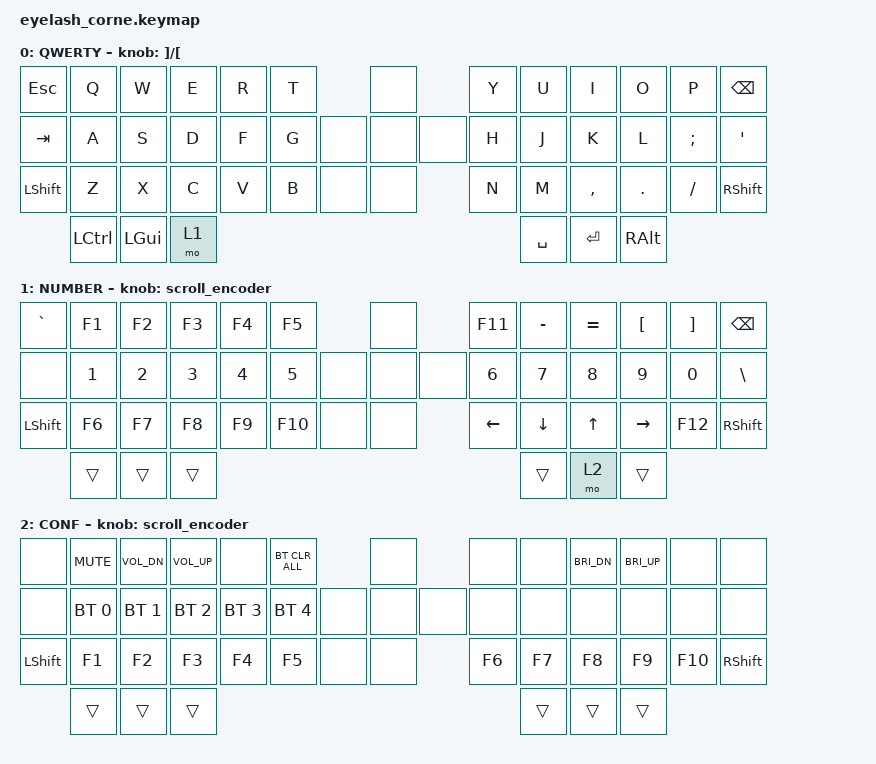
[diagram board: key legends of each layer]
#define ZMK_POINTING_DEFAULT_MOVE_VAL 1200  // 600
#define ZMK_POINTING_DEFAULT_SCRL_VAL 25   // 10

#include <input/processors.dtsi>
#include <zephyr/dt-bindings/input/input-event-codes.h>
#include <behaviors.dtsi>
#include <dt-bindings/zmk/bt.h>
#include <dt-bindings/zmk/keys.h>
#include <dt-bindings/zmk/outputs.h>
#include <dt-bindings/zmk/pointing.h>
#include <dt-bindings/zmk/rgb.h>

&mmv_input_listener { input-processors = <&zip_xy_scaler 2 1>; };

&msc_input_listener { input-processors = <&zip_scroll_scaler 2 1>; };

&msc {
    acceleration-exponent = <1>;      // 0
    time-to-max-speed-ms = <100>;       // 300
    delay-ms = <0>;                   // 0
};

&mmv {
    time-to-max-speed-ms = <500>;
    acceleration-exponent = <1>;
    trigger-period-ms = <16>;
};

&soft_off { hold-time-ms = <2000>; };

/ {
    behaviors {
        td0: td0 {
            compatible = "zmk,behavior-tap-dance";
            display-name = "Tab/Caps Lock Tap Dance";
            #binding-cells = <0>;
            bindings = <&kp TAB>, <&kp CAPS>;
        };
    };

    rgb_encoder: rgb_encoder {
        compatible = "zmk,behavior-sensor-rotate";
        #sensor-binding-cells = <0>;
        bindings = <&rgb_ug RGB_BRI>, <&rgb_ug RGB_BRD>;
    };

    scroll_encoder: scroll_encoder {
        compatible = "zmk,behavior-sensor-rotate";
        #sensor-binding-cells = <0>;
        bindings = <&msc SCRL_DOWN>, <&msc SCRL_UP>;

        tap-ms = <100>;
    };

    combos {
        compatible = "zmk,combos";

        softoff {
            bindings = <&soft_off>;
            key-positions = <1 15 29>;  // Q S Z
        };
    };

    keymap {
        compatible = "zmk,keymap";

        layer0 {
            display-name = "QWERTY";
            bindings = <
&kp ESCAPE      &kp Q  &kp W  &kp E  &kp R  &kp T        &none        &kp Y  &kp U  &kp I      &kp O    &kp P     &kp BSPC
&kp TAB         &kp A  &kp S  &kp D  &kp F  &kp G  &none &none &none  &kp H  &kp J  &kp K      &kp L    &kp SEMI  &kp SQT
&kp LEFT_SHIFT  &kp Z  &kp X  &kp C  &kp V  &kp B  &none &none        &kp N  &kp M  &kp COMMA  &kp DOT  &kp FSLH  &kp RIGHT_SHIFT
             &kp LEFT_CONTROL  &kp LEFT_GUI &mo 1                     &kp SPACE  &kp ENTER  &kp RIGHT_ALT
            >;

            sensor-bindings = <&inc_dec_kp RIGHT_BRACKET LEFT_BRACKET>;
        };

        layer1 {
            display-name = "NUMBER";
            bindings = <
&kp GRAVE   &kp F1    &kp F2    &kp F3    &kp F4    &kp F5         &none        &kp F11   &kp MINUS  &kp EQUAL  &kp LEFT_BRACKET  &kp RIGHT_BRACKET  &kp BSPC
&none       &kp N1    &kp N2    &kp N3    &kp N4    &kp N5   &none &none &none  &kp N6    &kp N7     &kp N8     &kp N9            &kp N0             &kp BACKSLASH
&kp LSHIFT  &kp F6    &kp F7    &kp F8    &kp F9    &kp F10  &none &none        &kp LEFT  &kp DOWN   &kp UP     &kp RIGHT         &kp F12            &kp RSHIFT
                                &trans    &trans    &trans                      &trans  &mo 2  &trans
            >;

            sensor-bindings = <&scroll_encoder>;
        };

        layer2 {
            display-name = "CONF";
            bindings = <
&none       &kp C_MUTE    &kp C_VOL_DN  &kp C_VOL_UP  &none         &bt BT_CLR_ALL        &none        &none          &none          &kp C_BRI_DN &kp C_BRI_UP  &none        &none       
&none       &bt BT_SEL 0  &bt BT_SEL 1  &bt BT_SEL 2  &bt BT_SEL 3  &bt BT_SEL 4    &none &none &none  &none          &none          &none        &none         &none        &none
&kp LSHIFT  &kp F1        &kp F2        &kp F3        &kp F4        &kp F5          &none &none        &kp F6         &kp F7         &kp F8       &kp F9        &kp F10      &kp RSHIFT
                                                              &trans &trans &trans                     &trans &trans &trans
            >;

            sensor-bindings = <&scroll_encoder>;
        };
    };
};
